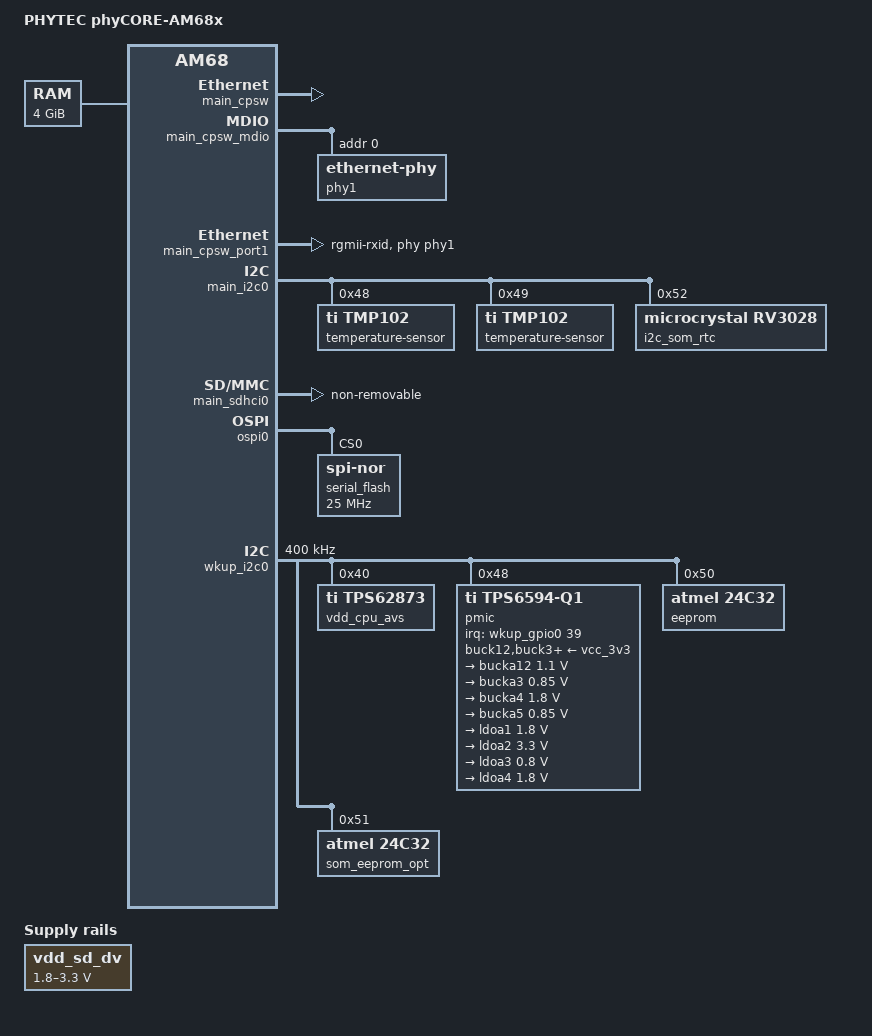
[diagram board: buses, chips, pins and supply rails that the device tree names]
// SPDX-License-Identifier: GPL-2.0-only OR MIT
/*
 * Copyright (C) 2025 PHYTEC Messtechnik GmbH
 * Author: Dominik Haller <d.haller@phytec.de>
 *
 * https://www.phytec.eu/en/produkte/system-on-modules/phycore-am68x-tda4x/
 */

/dts-v1/;

#include <dt-bindings/gpio/gpio.h>
#include <dt-bindings/net/ti-dp83867.h>
#include "k3-j721s2.dtsi"

/ {
	compatible = "phytec,am68-phycore-som", "ti,j721s2";
	model = "PHYTEC phyCORE-AM68x";

	aliases {
		ethernet1 = &main_cpsw_port1;
		mmc0 = &main_sdhci0;
		rtc0 = &i2c_som_rtc;
	};

	memory@80000000 {
		device_type = "memory";
		/* 4GB RAM */
		reg = <0x00000000 0x80000000 0x00000000 0x80000000>,
		      <0x00000008 0x80000000 0x00000000 0x80000000>;
		bootph-all;
	};

	reserved_memory: reserved-memory {
		#address-cells = <2>;
		#size-cells = <2>;
		ranges;

		/* global cma region */
		linux,cma {
			compatible = "shared-dma-pool";
			reusable;
			size = <0x00 0x20000000>;
			linux,cma-default;
		};

		secure_ddr: optee@9e800000 {
			reg = <0x00 0x9e800000 0x00 0x01800000>;
			alignment = <0x1000>;
			no-map;
		};

		mcu_r5fss0_core0_dma_memory_region: memory@a0000000 {
			compatible = "shared-dma-pool";
			reg = <0x00 0xa0000000 0x00 0x100000>;
			no-map;
		};

		mcu_r5fss0_core0_memory_region: memory@a0100000 {
			compatible = "shared-dma-pool";
			reg = <0x00 0xa0100000 0x00 0xf00000>;
			no-map;
		};
	};

	vdd_sd_dv: regulator-sd {
		/* Output of TLV71033 */
		compatible = "regulator-gpio";
		regulator-name = "VDD_SD_DV";
		pinctrl-names = "default";
		pinctrl-0 = <&vdd_sd_dv_pins_default>;
		regulator-min-microvolt = <1800000>;
		regulator-max-microvolt = <3300000>;
		regulator-boot-on;
		gpios = <&main_gpio0 1 GPIO_ACTIVE_HIGH>;
		states = <3300000 0x0>,
			 <1800000 0x1>;
	};
};

&main_pmx0 {
	main_cpsw_mdio_pins_default: main-cpsw-mdio-default-pins {
		pinctrl-single,pins = <
			J721S2_IOPAD(0x0c0, PIN_OUTPUT, 6) /* (T28) MCASP1_AXR0.MDIO0_MDC */
			J721S2_IOPAD(0x0bc, PIN_INPUT, 6) /* (V28) MCASP1_AFSX.MDIO0_MDIO */
		>;
	};

	main_i2c0_pins_default: main-i2c0-default-pins {
		pinctrl-single,pins = <
			J721S2_IOPAD(0x0e0, PIN_INPUT_PULLUP, 0) /* (AH25) I2C0_SCL */
			J721S2_IOPAD(0x0e4, PIN_INPUT_PULLUP, 0) /* (AE24) I2C0_SDA */
		>;
	};

	rgmii1_pins_default: rgmii1-default-pins {
		pinctrl-single,pins = <
			J721S2_IOPAD(0x0b8, PIN_INPUT, 6) /* (AA24) MCASP1_ACLKX.RGMII1_RD0 */
			J721S2_IOPAD(0x0a0, PIN_INPUT, 6) /* (AB25) MCASP0_AXR12.RGMII1_RD1 */
			J721S2_IOPAD(0x0a4, PIN_INPUT, 6) /* (T23) MCASP0_AXR13.RGMII1_RD2 */
			J721S2_IOPAD(0x0a8, PIN_INPUT, 6) /* (U24) MCASP0_AXR14.RGMII1_RD3 */
			J721S2_IOPAD(0x0b0, PIN_INPUT, 6) /* (AD26) MCASP1_AXR3.RGMII1_RXC */
			J721S2_IOPAD(0x0ac, PIN_INPUT, 6) /* (AC25) MCASP0_AXR15.RGMII1_RX_CTL */
			J721S2_IOPAD(0x08c, PIN_OUTPUT, 6) /* (T25) MCASP0_AXR7.RGMII1_TD0 */
			J721S2_IOPAD(0x090, PIN_OUTPUT, 6) /* (W24) MCASP0_AXR8.RGMII1_TD1 */
			J721S2_IOPAD(0x094, PIN_OUTPUT, 6) /* (AA25) MCASP0_AXR9.RGMII1_TD2 */
			J721S2_IOPAD(0x098, PIN_OUTPUT, 6) /* (V25) MCASP0_AXR10.RGMII1_TD3 */
			J721S2_IOPAD(0x0b4, PIN_OUTPUT, 6) /* (U25) MCASP1_AXR4.RGMII1_TXC */
			J721S2_IOPAD(0x09c, PIN_OUTPUT, 6) /* (T24) MCASP0_AXR11.RGMII1_TX_CTL */
		>;
	};

	vdd_sd_dv_pins_default: vdd-sd-dv-default-pins {
		pinctrl-single,pins = <
			J721S2_IOPAD(0x004, PIN_OUTPUT, 7) /* (W25) MCAN12_TX.GPIO0_1 */
		>;
	};
};

&wkup_pmx0 {
	mcu_fss0_ospi0_pins_default: mcu-fss0-ospi0-default-pins {
		pinctrl-single,pins = <
			J721S2_WKUP_IOPAD(0x000, PIN_OUTPUT, 0) /* (D19) MCU_OSPI0_CLK */
			J721S2_WKUP_IOPAD(0x02c, PIN_OUTPUT, 0) /* (F15) MCU_OSPI0_CSn0 */
			J721S2_WKUP_IOPAD(0x00c, PIN_INPUT, 0) /* (C19) MCU_OSPI0_D0 */
			J721S2_WKUP_IOPAD(0x010, PIN_INPUT, 0) /* (F16) MCU_OSPI0_D1 */
			J721S2_WKUP_IOPAD(0x014, PIN_INPUT, 0) /* (G15) MCU_OSPI0_D2 */
			J721S2_WKUP_IOPAD(0x018, PIN_INPUT, 0) /* (F18) MCU_OSPI0_D3 */
			J721S2_WKUP_IOPAD(0x01c, PIN_INPUT, 0) /* (E19) MCU_OSPI0_D4 */
			J721S2_WKUP_IOPAD(0x020, PIN_INPUT, 0) /* (G19) MCU_OSPI0_D5 */
			J721S2_WKUP_IOPAD(0x024, PIN_INPUT, 0) /* (F19) MCU_OSPI0_D6 */
			J721S2_WKUP_IOPAD(0x028, PIN_INPUT, 0) /* (F20) MCU_OSPI0_D7 */
			J721S2_WKUP_IOPAD(0x008, PIN_INPUT, 0) /* (E18) MCU_OSPI0_DQS */
		>;
		bootph-all;
	};
};

&wkup_pmx1 {
	pmic_irq_pins_default: pmic-irq-default-pins {
		pinctrl-single,pins = <
			J721S2_WKUP_IOPAD(0x028, PIN_INPUT, 7) /* (C21) MCU_OSPI1_CSn1.WKUP_GPIO0_39 */
		>;
	};
};

&wkup_pmx2 {
	wkup_i2c0_pins_default: wkup-i2c0-default-pins {
		pinctrl-single,pins = <
			J721S2_WKUP_IOPAD(0x098, PIN_INPUT_PULLUP, 0) /* (H24) WKUP_I2C0_SCL */
			J721S2_WKUP_IOPAD(0x09c, PIN_INPUT_PULLUP, 0) /* (H27) WKUP_I2C0_SDA */
		>;
		bootph-all;
	};
};

&main_cpsw {
	pinctrl-names = "default";
	pinctrl-0 = <&rgmii1_pins_default>;
	status = "okay";
};

&main_cpsw_mdio {
	pinctrl-names = "default";
	pinctrl-0 = <&main_cpsw_mdio_pins_default>;
	status = "okay";

	phy1: ethernet-phy@0 {
		reg = <0>;
		ti,clk-output-sel = <DP83867_CLK_O_SEL_OFF>;
		ti,fifo-depth = <DP83867_PHYCR_FIFO_DEPTH_4_B_NIB>;
		ti,min-output-impedance;
		ti,rx-internal-delay = <DP83867_RGMIIDCTL_2_00_NS>;
	};
};

&main_cpsw_port1 {
	phy-handle = <&phy1>;
	phy-mode = "rgmii-rxid";
	status = "okay";
};

&main_i2c0 {
	pinctrl-names = "default";
	pinctrl-0 = <&main_i2c0_pins_default>;

	temperature-sensor@48 {
		compatible = "ti,tmp102";
		reg = <0x48>;
	};

	temperature-sensor@49 {
		compatible = "ti,tmp102";
		reg = <0x49>;
	};

	i2c_som_rtc: rtc@52 {
		compatible = "microcrystal,rv3028";
		reg = <0x52>;
	};
};

&main_gpio0 {
	status = "okay";
};

/* eMMC */
&main_sdhci0 {
	non-removable;
	ti,driver-strength-ohm = <50>;
	bootph-all;
	status = "okay";
};

/* SD card */
&main_sdhci1 {
	vqmmc-supply = <&vdd_sd_dv>;
	bootph-all;
};

&ospi0 {
	pinctrl-names = "default";
	pinctrl-0 = <&mcu_fss0_ospi0_pins_default>;
	status = "okay";

	serial_flash: flash@0 {
		compatible = "jedec,spi-nor";
		reg = <0x0>;
		spi-tx-bus-width = <8>;
		spi-rx-bus-width = <8>;
		spi-max-frequency = <25000000>;
		cdns,tshsl-ns = <60>;
		cdns,tsd2d-ns = <60>;
		cdns,tchsh-ns = <60>;
		cdns,tslch-ns = <60>;
		cdns,read-delay = <2>;
		bootph-all;
	};
};

&wkup_gpio0 {
	status = "okay";
};

&wkup_i2c0 {
	pinctrl-names = "default";
	pinctrl-0 = <&wkup_i2c0_pins_default>;
	clock-frequency = <400000>;
	status = "okay";

	vdd_cpu_avs: regulator@40 {
		compatible = "ti,tps62873";
		reg = <0x40>;
		regulator-name = "VDD_CPU_AVS";
		regulator-min-microvolt = <600000>;
		regulator-max-microvolt = <900000>;
		regulator-boot-on;
		regulator-always-on;
		bootph-pre-ram;
	};

	pmic@48 {
		compatible = "ti,tps6594-q1";
		reg = <0x48>;
		system-power-controller;
		pinctrl-names = "default";
		pinctrl-0 = <&pmic_irq_pins_default>;
		interrupt-parent = <&wkup_gpio0>;
		interrupts = <39 IRQ_TYPE_EDGE_FALLING>;
		gpio-controller;
		#gpio-cells = <2>;
		buck12-supply = <&vcc_3v3>;
		buck3-supply = <&vcc_3v3>;
		buck4-supply = <&vcc_3v3>;
		buck5-supply = <&vcc_3v3>;
		ldo1-supply = <&vcc_3v3>;
		ldo2-supply = <&vcc_3v3>;
		ldo3-supply = <&vcc_3v3>;
		ldo4-supply = <&vcc_3v3>;
		ti,primary-pmic;

		regulators {
			bucka12: buck12 {
				regulator-name = "VDD_DDR_1V1";
				regulator-min-microvolt = <1100000>;
				regulator-max-microvolt = <1100000>;
				regulator-boot-on;
				regulator-always-on;
				bootph-all;
			};

			bucka3: buck3 {
				regulator-name = "VDD_RAM_0V85";
				regulator-min-microvolt = <850000>;
				regulator-max-microvolt = <850000>;
				regulator-boot-on;
				regulator-always-on;
				bootph-all;
			};

			bucka4: buck4 {
				regulator-name = "VDD_IO_1V8";
				regulator-min-microvolt = <1800000>;
				regulator-max-microvolt = <1800000>;
				regulator-boot-on;
				regulator-always-on;
				bootph-all;
			};

			bucka5: buck5 {
				regulator-name = "VDD_MCU_0V85";
				regulator-min-microvolt = <850000>;
				regulator-max-microvolt = <850000>;
				regulator-boot-on;
				regulator-always-on;
				bootph-all;
			};

			ldoa1: ldo1 {
				regulator-name = "VDD_MCUIO_1V8";
				regulator-min-microvolt = <1800000>;
				regulator-max-microvolt = <1800000>;
				regulator-boot-on;
				regulator-always-on;
				bootph-all;
			};

			ldoa2: ldo2 {
				regulator-name = "VDD_MCUIO_3V3";
				regulator-min-microvolt = <3300000>;
				regulator-max-microvolt = <3300000>;
				regulator-boot-on;
				regulator-always-on;
				bootph-all;
			};

			ldoa3: ldo3 {
				regulator-name = "VDDA_DLL_0V8";
				regulator-min-microvolt = <800000>;
				regulator-max-microvolt = <800000>;
				regulator-boot-on;
				regulator-always-on;
				bootph-all;
			};

			ldoa4: ldo4 {
				regulator-name = "VDDA_MCU_1V8";
				regulator-min-microvolt = <1800000>;
				regulator-max-microvolt = <1800000>;
				regulator-boot-on;
				regulator-always-on;
				bootph-all;
			};
		};
	};

	eeprom@50 {
		compatible = "atmel,24c32";
		reg = <0x50>;
		pagesize = <32>;
		bootph-all;
	};

	som_eeprom_opt: eeprom@51 {
		compatible = "atmel,24c32";
		reg = <0x51>;
		pagesize = <32>;
	};
};

#include "k3-j721s2-ti-ipc-firmware.dtsi"
